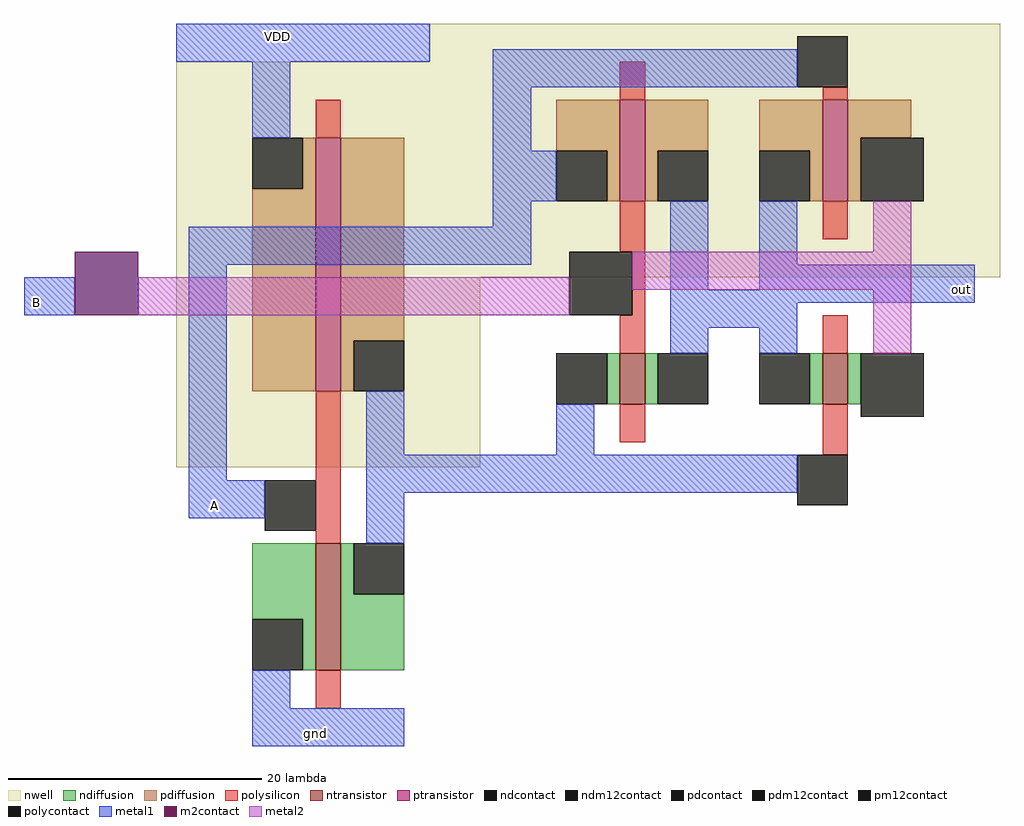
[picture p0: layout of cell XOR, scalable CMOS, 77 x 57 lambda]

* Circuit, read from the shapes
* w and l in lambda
.subckt XOR A B VDD gnd out
M1 n1 A gnd VSUBS nfet w=10 l=2
M2 out B n1 VSUBS nfet w=4 l=2
M3 B n1 out VSUBS nfet w=4 l=2
M4 n1 A VDD n2 pfet w=20 l=2
M5 out B A n2 pfet w=8 l=2
M6 B A out n2 pfet w=8 l=2
.ends

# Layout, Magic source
magic
tech scmos
<< nwell >>
rect -319 -29 -274 -26
rect -339 -46 -274 -29
rect -339 -61 -315 -46
<< ntransistor >>
rect -304 -56 -302 -52
rect -288 -56 -286 -52
rect -328 -77 -326 -67
<< ptransistor >>
rect -328 -55 -326 -35
rect -304 -40 -302 -32
rect -288 -40 -286 -32
<< ndiffusion >>
rect -305 -56 -304 -52
rect -302 -56 -301 -52
rect -289 -56 -288 -52
rect -286 -56 -285 -52
rect -333 -73 -328 -67
rect -329 -77 -328 -73
rect -326 -71 -325 -67
rect -326 -77 -321 -71
<< pdiffusion >>
rect -329 -39 -328 -35
rect -333 -55 -328 -39
rect -326 -51 -321 -35
rect -309 -36 -304 -32
rect -305 -40 -304 -36
rect -302 -36 -297 -32
rect -302 -40 -301 -36
rect -293 -36 -288 -32
rect -289 -40 -288 -36
rect -286 -35 -281 -32
rect -286 -40 -285 -35
rect -326 -55 -325 -51
<< ndcontact >>
rect -309 -56 -305 -52
rect -301 -56 -297 -52
rect -293 -56 -289 -52
rect -333 -77 -329 -73
rect -325 -71 -321 -67
<< pdcontact >>
rect -333 -39 -329 -35
rect -309 -40 -305 -36
rect -301 -40 -297 -36
rect -293 -40 -289 -36
rect -325 -55 -321 -51
<< polysilicon >>
rect -304 -32 -302 -29
rect -288 -32 -286 -31
rect -328 -35 -326 -32
rect -304 -44 -302 -40
rect -288 -43 -286 -40
rect -303 -49 -302 -44
rect -304 -52 -302 -49
rect -288 -52 -286 -49
rect -328 -67 -326 -55
rect -304 -59 -302 -56
rect -288 -60 -286 -56
rect -328 -80 -326 -77
<< polycontact >>
rect -290 -31 -286 -27
rect -332 -66 -328 -62
rect -290 -64 -286 -60
<< metal1 >>
rect -339 -29 -319 -26
rect -333 -35 -330 -29
rect -314 -31 -290 -28
rect -314 -36 -311 -31
rect -314 -40 -309 -36
rect -314 -42 -311 -40
rect -351 -49 -347 -46
rect -338 -45 -311 -42
rect -338 -62 -335 -45
rect -300 -47 -297 -40
rect -293 -45 -290 -40
rect -293 -47 -276 -45
rect -300 -48 -276 -47
rect -300 -50 -290 -48
rect -300 -52 -297 -50
rect -324 -60 -321 -55
rect -293 -52 -290 -50
rect -309 -60 -306 -56
rect -338 -65 -332 -62
rect -324 -63 -290 -60
rect -324 -67 -321 -63
rect -333 -80 -330 -77
rect -333 -83 -321 -80
<< m2contact >>
rect -347 -49 -342 -44
<< pm12contact >>
rect -308 -49 -303 -44
<< pdm12contact >>
rect -285 -40 -280 -35
<< ndm12contact >>
rect -285 -57 -280 -52
<< metal2 >>
rect -284 -44 -281 -40
rect -342 -49 -308 -46
rect -303 -47 -281 -44
rect -284 -52 -281 -47
<< labels >>
rlabel metal1 -331 -27 -331 -27 5 VDD
rlabel metal1 -328 -82 -328 -82 1 gnd
rlabel metal1 -350 -48 -350 -48 1 B
rlabel metal1 -336 -64 -336 -64 1 A
rlabel metal1 -277 -47 -277 -47 1 out
<< end >>
